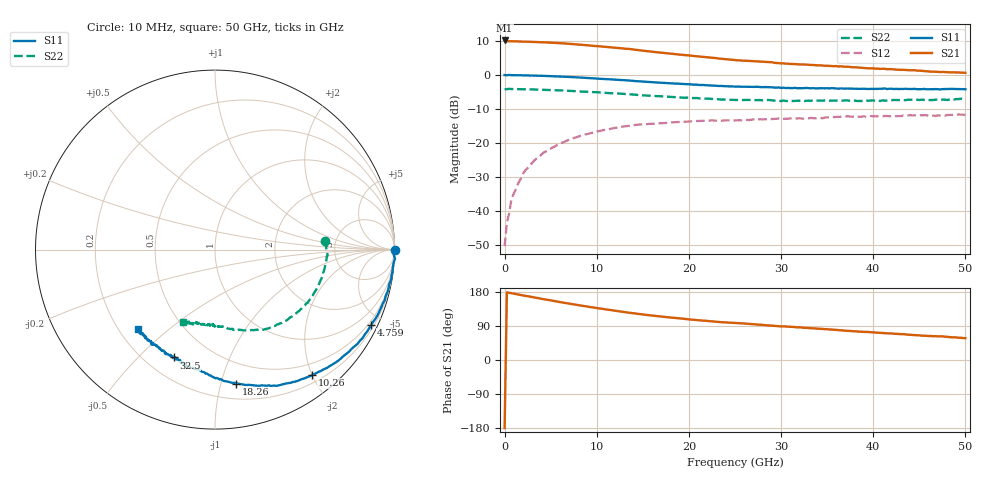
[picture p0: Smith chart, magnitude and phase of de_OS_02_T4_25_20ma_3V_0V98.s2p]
! Date created: 9/30/2014 6:22:08 PM
! S2P parameters
!	freq-unit	param-type	data-format	keyword		impedance-ohms
#	GHZ		S		RI		R		50
! -- Signals parameters
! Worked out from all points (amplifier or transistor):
!   201 points, 10 MHz to 50 GHz, reference 50 ohm
!   highest |S21| = 10.2 dB at 10 MHz (marker M1)
!   |S21| within 3 dB of that: start of sweep to 14.98 GHz
!   unconditionally stable (mu >= 1): nowhere
!   at 8.258 GHz: K = 0.20, MSG = 13.4 dB, |S12| = -17.8 dB
!   at 25.01 GHz: K = 0.64, MSG = 8.9 dB, |S12| = -13.3 dB
!   at 50 GHz: K = 0.87, MSG = 6.2 dB, |S12| = -11.8 dB
!   S11 on the Smith chart (normalised r, x): 10 MHz: open; 4.759 GHz: 0.35, -4.36; 10.26 GHz: 0.31, -2.00; 18.26 GHz: 0.32, -1.12; 32.5 GHz: 0.31, -0.64; 50 GHz: 0.27, -0.39
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0.01  1.002 -0.0028  -3.23 -0.02  -0.00305 -0.00019  0.6142 0.0497
0.25995  0.9952 -0.0285  -3.15 0.0797  0.00136 0.00662  0.623 -0.0167
0.5099  1.003 -0.0505  -3.138 0.1491  -0.000249 0.00941  0.6279 -0.03
0.75985  0.9949 -0.0743  -3.14 0.202  0.000806 0.0153  0.6222 -0.0423
1.5097  0.9834 -0.1449  -3.093 0.3992  0.00334 0.0258  0.6154 -0.0814
2.25955  0.9667 -0.2148  -3.045 0.5794  0.00519 0.0396  0.606 -0.1204
4.75905  0.8706 -0.4191  -2.801 1.103  0.0262 0.0757  0.5563 -0.2342
6.5087  0.7766 -0.54  -2.551 1.421  0.0441 0.0948  0.5066 -0.3017
8.5083  0.656 -0.6385  -2.216 1.674  0.0695 0.1104  0.4435 -0.3592
10.25795  0.542 -0.698  -1.914 1.843  0.0918 0.119  0.3893 -0.3991
13.5073  0.3436 -0.7591  -1.384 1.993  0.1318 0.122  0.2786 -0.4431
16.75665  0.1788 -0.7541  -0.9181 1.944  0.1598 0.112  0.1932 -0.4506
18.25635  0.1182 -0.7462  -0.7569 1.907  0.1708 0.1079  0.1567 -0.4501
21.25575  0.00627 -0.7146  -0.467 1.81  0.1892 0.0966  0.0964 -0.4411
25.005  -0.0825 -0.6727  -0.2231 1.647  0.1994 0.0817  0.0459 -0.4291
29.0042  -0.1747 -0.6388  -0.0111 1.544  0.2134 0.0739  0.00122 -0.4265
30.004  -0.1992 -0.6156  0.0396 1.482  0.2164 0.0664  -0.0135 -0.4143
32.5035  -0.2306 -0.6007  0.1268 1.428  0.2206 0.063  -0.031 -0.4144
33.5033  -0.2431 -0.5959  0.1567 1.398  0.2242 0.0608  -0.0438 -0.4222
37.25255  -0.3008 -0.5601  0.3052 1.293  0.2446 0.0465  -0.0772 -0.4166
41.75165  -0.3541 -0.5211  0.4179 1.151  0.2459 0.0361  -0.1058 -0.4126
50  -0.4316 -0.443  0.5762 0.9131  0.2583 0.00151  -0.1801 -0.4015
